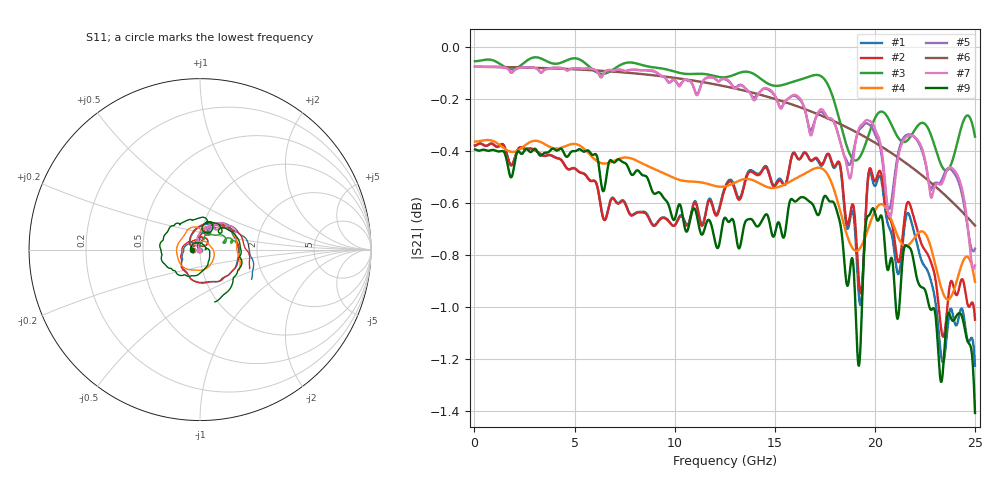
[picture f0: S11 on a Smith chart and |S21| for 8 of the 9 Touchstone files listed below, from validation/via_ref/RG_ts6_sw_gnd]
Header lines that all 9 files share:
# Hz S RI R 50
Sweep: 25 MHz to 25 GHz
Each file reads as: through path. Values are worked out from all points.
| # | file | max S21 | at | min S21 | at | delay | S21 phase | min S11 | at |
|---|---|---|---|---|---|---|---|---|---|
| 1 | cst.s2p | -0.37 dB | 275 MHz | -1.2 dB | 25 GHz | 58.4 ps | 100 deg at 12.53 GHz | -33.5 dB | 19.45 GHz |
| 2 | cst_fine.s2p | -0.37 dB | 275 MHz | -1.1 dB | 23.4 GHz | 58.1 ps | 101 deg at 12.53 GHz | -33.3 dB | 19.48 GHz |
| 3 | deembedded.s2p | -0.04 dB | 3.05 GHz | -0.5 dB | 23.55 GHz | 9.06 ps | -40 deg at 12.53 GHz | -49.5 dB | 75 MHz |
| 4 | kisi.s2p | -0.36 dB | 650 MHz | -1.0 dB | 23.65 GHz | 58.1 ps | 100 deg at 12.53 GHz | -28.2 dB | 1.575 GHz |
| 5 | ladder_grid.s2p | -0.08 dB | 25 MHz | -0.8 dB | 24.9 GHz | 10.4 ps | -44 deg at 12.53 GHz | -41.1 dB | 25 MHz |
| 6 | ladder_inf.s2p | -0.08 dB | 25 MHz | -0.7 dB | 25 GHz | 10.3 ps | -44 deg at 12.53 GHz | -41.1 dB | 25 MHz |
| 7 | ladder_rect_ret.s2p | -0.08 dB | 25 MHz | -0.9 dB | 24.93 GHz | 10.3 ps | -44 deg at 12.53 GHz | -41.1 dB | 25 MHz |
| 8 | openems.s2p | -0.36 dB | 200 MHz | -1.4 dB | 25 GHz | 58.7 ps | 98 deg at 12.53 GHz | -30.2 dB | 1.775 GHz |
| 9 | openems_base.s2p | -0.39 dB | 3.925 GHz | -1.4 dB | 25 GHz | 60.8 ps | 88 deg at 12.53 GHz | -30.3 dB | 6.325 GHz |
